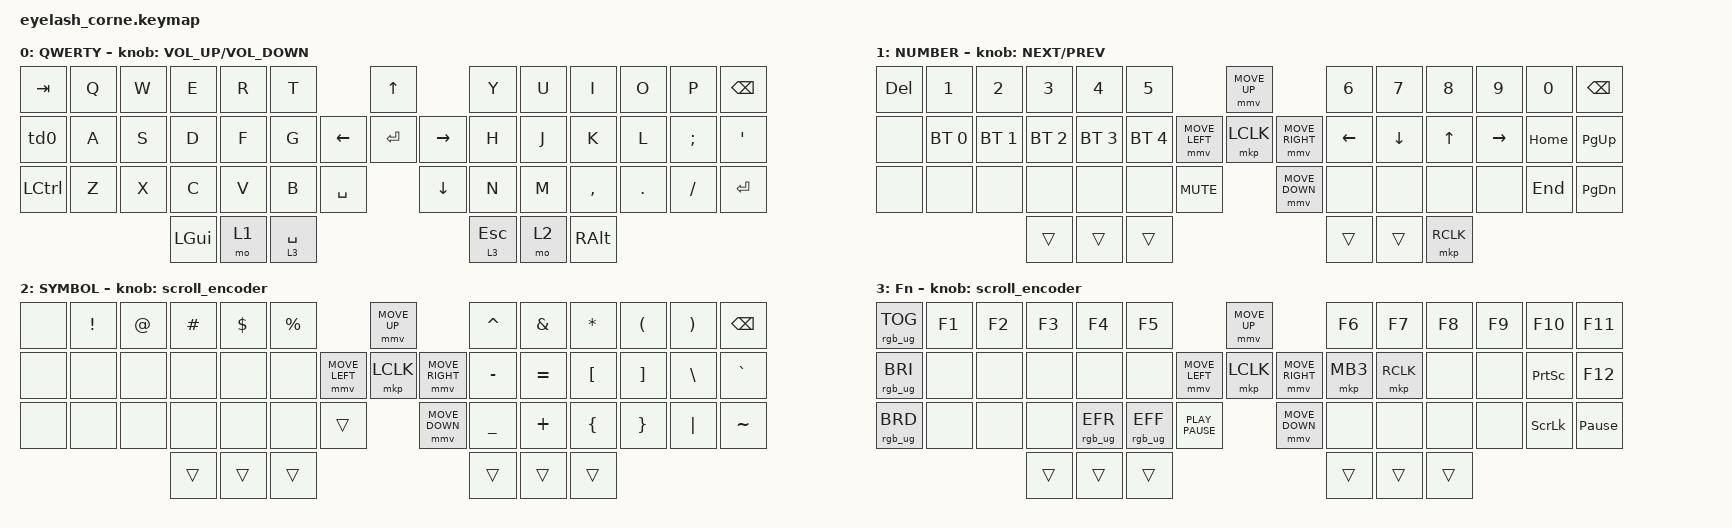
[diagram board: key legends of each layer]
#define ZMK_POINTING_DEFAULT_MOVE_VAL 1200  // 600
#define ZMK_POINTING_DEFAULT_SCRL_VAL 25   // 10

#include <input/processors.dtsi>
#include <zephyr/dt-bindings/input/input-event-codes.h>
#include <behaviors.dtsi>
#include <dt-bindings/zmk/bt.h>
#include <dt-bindings/zmk/keys.h>
#include <dt-bindings/zmk/pointing.h>
#include <dt-bindings/zmk/rgb.h>

&mmv_input_listener { input-processors = <&zip_xy_scaler 2 1>; };

&msc_input_listener { input-processors = <&zip_scroll_scaler 2 1>; };

&msc {
    acceleration-exponent = <1>;      // 0
    time-to-max-speed-ms = <100>;       // 300
    delay-ms = <0>;                   // 0
};

&mmv {
    time-to-max-speed-ms = <500>;
    acceleration-exponent = <1>;
    trigger-period-ms = <16>;
};

/ {
    behaviors {
        td0: td0 {
            compatible = "zmk,behavior-tap-dance";
            display-name = "Shift/Caps Lock Tap Dance";
            #binding-cells = <0>;
            bindings = <&kp LEFT_SHIFT>, <&kp CAPS>;
        };
    };

    rgb_encoder: rgb_encoder {
        compatible = "zmk,behavior-sensor-rotate";
        #sensor-binding-cells = <0>;
        bindings = <&rgb_ug RGB_BRI>, <&rgb_ug RGB_BRD>;
    };

    scroll_encoder: scroll_encoder {
        compatible = "zmk,behavior-sensor-rotate-var";
        #sensor-binding-cells = <0>;
        bindings = <&msc SCRL_DOWN>, <&msc SCRL_UP>;

        tap-ms = <100>;
    };

    keymap {
        compatible = "zmk,keymap";

        default_layer {
            display-name = "QWERTY";
            bindings = <
&kp TAB    &kp Q  &kp W  &kp E     &kp R  &kp T                               &kp UP                &kp Y         &kp U  &kp I      &kp O    &kp P     &kp BSPC
&td0       &kp A  &kp S  &kp D     &kp F  &kp G                     &kp LEFT  &kp ENTER  &kp RIGHT  &kp H         &kp J  &kp K      &kp L    &kp SEMI  &kp SQT
&kp LCTRL  &kp Z  &kp X  &kp C     &kp V  &kp B        &kp SPACE              &kp DOWN              &kp N         &kp M  &kp COMMA  &kp DOT  &kp FSLH  &kp ENTER
                         &kp LGUI  &mo 1  &lt 3 SPACE                                               &lt 3 ESCAPE  &mo 2  &kp RALT
            >;

            sensor-bindings = <&inc_dec_kp C_VOLUME_UP C_VOLUME_DOWN>;
        };

        lower_layer {
            display-name = "NUMBER";
            bindings = <
&kp DELETE  &kp N1        &kp N2        &kp N3        &kp N4        &kp N5                                      &mmv MOVE_UP                     &kp N6    &kp N7    &kp N8     &kp N9     &kp N0    &kp BSPC
&none       &bt BT_SEL 0  &bt BT_SEL 1  &bt BT_SEL 2  &bt BT_SEL 3  &bt BT_SEL 4                &mmv MOVE_LEFT  &mkp LCLK       &mmv MOVE_RIGHT  &kp LEFT  &kp DOWN  &kp UP     &kp RIGHT  &kp HOME  &kp PG_UP
&none       &none         &none         &none         &none         &none         &kp C_MUTE                    &mmv MOVE_DOWN                   &none     &none     &none      &none      &kp END   &kp PG_DN
                                        &trans        &trans        &trans                                                                       &trans    &trans    &mkp RCLK
            >;

            sensor-bindings = <&inc_dec_kp C_NEXT C_PREV>;
        };

        raise_layer {
            display-name = "SYMBOL";
            bindings = <
&none  &kp EXCL  &kp AT  &kp HASH  &kp DLLR  &kp PRCNT                            &mmv MOVE_UP                     &kp CARET  &kp AMPS   &kp ASTRK  &kp LPAR  &kp RPAR  &kp BSPC
&none  &none     &none   &none     &none     &none                &mmv MOVE_LEFT  &mkp LCLK       &mmv MOVE_RIGHT  &kp MINUS  &kp EQUAL  &kp LBKT   &kp RBKT  &kp BSLH  &kp GRAVE
&none  &none     &none   &none     &none     &none      &trans                    &mmv MOVE_DOWN                   &kp UNDER  &kp PLUS   &kp LBRC   &kp RBRC  &kp PIPE  &kp TILDE
                         &trans    &trans    &trans                                                                &trans     &trans     &trans
            >;

            sensor-bindings = <&scroll_encoder>;
        };

        layer_3 {
            display-name = "Fn";
            bindings = <
&rgb_ug RGB_TOG  &kp F1  &kp F2  &kp F3  &kp F4           &kp F5                                               &mmv MOVE_UP                     &kp F6    &kp F7     &kp F8  &kp F9  &kp F10          &kp F11
&rgb_ug RGB_BRI  &none   &none   &none   &none            &none                                &mmv MOVE_LEFT  &mkp LCLK       &mmv MOVE_RIGHT  &mkp MB3  &mkp RCLK  &none   &none   &kp PRINTSCREEN  &kp F12
&rgb_ug RGB_BRD  &none   &none   &none   &rgb_ug RGB_EFR  &rgb_ug RGB_EFF  &kp K_PLAY_PAUSE                    &mmv MOVE_DOWN                   &none     &none      &none   &none   &kp SCROLLLOCK   &kp PAUSE_BREAK
                                 &trans  &trans           &trans                                                                                &trans    &trans     &trans
            >;

            sensor-bindings = <&scroll_encoder>;
        };
    };
};
